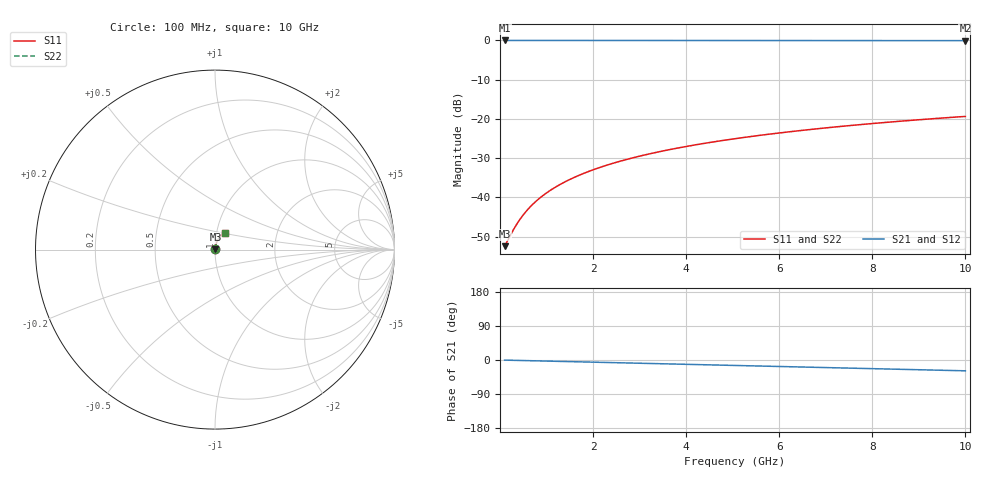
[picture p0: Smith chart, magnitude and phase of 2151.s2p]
# Hz S RI R 50.00
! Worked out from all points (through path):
!   100 points, 100 MHz to 10 GHz, reference 50 ohm
!   highest |S21| = -0.02 dB at 100 MHz (marker M1); lowest = -0.1 dB at 10 GHz (marker M2)
!   group delay of S21, straight-line fit = 7.93 ps
!   lowest |S11| = -52.4 dB at 100 MHz (marker M3), VSWR 1.00, Z = 50.2 + j0.111 ohm
!   |S11| at or under -10 dB: start of sweep to end of sweep
!   |S22| runs from -52.4 to -19.4 dB; largest |S21 - S12| = 0
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1e8  0.00212 0.00111  0.9979 -0.00496  0.9979 -0.00496  0.00212 0.00111
3e8  0.00218 0.00333  0.9977 -0.0149  0.9977 -0.0149  0.00218 0.00333
4e8  0.00223 0.00443  0.9976 -0.0198  0.9976 -0.0198  0.00223 0.00443
5e8  0.00229 0.00554  0.9975 -0.0248  0.9975 -0.0248  0.00229 0.00554
6e8  0.00235 0.00665  0.9974 -0.0297  0.9974 -0.0297  0.00235 0.00665
7e8  0.00243 0.00776  0.9972 -0.0347  0.9972 -0.0347  0.00243 0.00776
8e8  0.00251 0.00886  0.997 -0.0397  0.997 -0.0397  0.00251 0.00886
9e8  0.00261 0.00997  0.9968 -0.0446  0.9968 -0.0446  0.00261 0.00997
1e9  0.00272 0.0111  0.9965 -0.0496  0.9965 -0.0496  0.00272 0.0111
1.2e9  0.00297 0.0133  0.9959 -0.0595  0.9959 -0.0595  0.00297 0.0133
1.5e9  0.00342 0.0166  0.9949 -0.0743  0.9949 -0.0743  0.00342 0.0166
1.8e9  0.00397 0.0198  0.9936 -0.0891  0.9936 -0.0891  0.00397 0.0198
2.1e9  0.00461 0.0231  0.992 -0.1039  0.992 -0.1039  0.00461 0.0231
2.5e9  0.00563 0.0274  0.9896 -0.1236  0.9896 -0.1236  0.00563 0.0274
2.9e9  0.00681 0.0317  0.9868 -0.1433  0.9868 -0.1433  0.00681 0.0317
3.4e9  0.00853 0.0369  0.9827 -0.1678  0.9827 -0.1678  0.00853 0.0369
4.2e9  0.0118 0.0452  0.9749 -0.2067  0.9749 -0.2067  0.0118 0.0452
5.1e9  0.0163 0.0541  0.9641 -0.2501  0.9641 -0.2501  0.0163 0.0541
5.9e9  0.0209 0.0616  0.9528 -0.2882  0.9528 -0.2882  0.0209 0.0616
6.7e9  0.0261 0.0688  0.94 -0.3258  0.94 -0.3258  0.0261 0.0688
8.4e9  0.0391 0.0826  0.9076 -0.4037  0.9076 -0.4037  0.0391 0.0826
1e10  0.0533 0.0934  0.871 -0.4741  0.871 -0.4741  0.0533 0.0934
